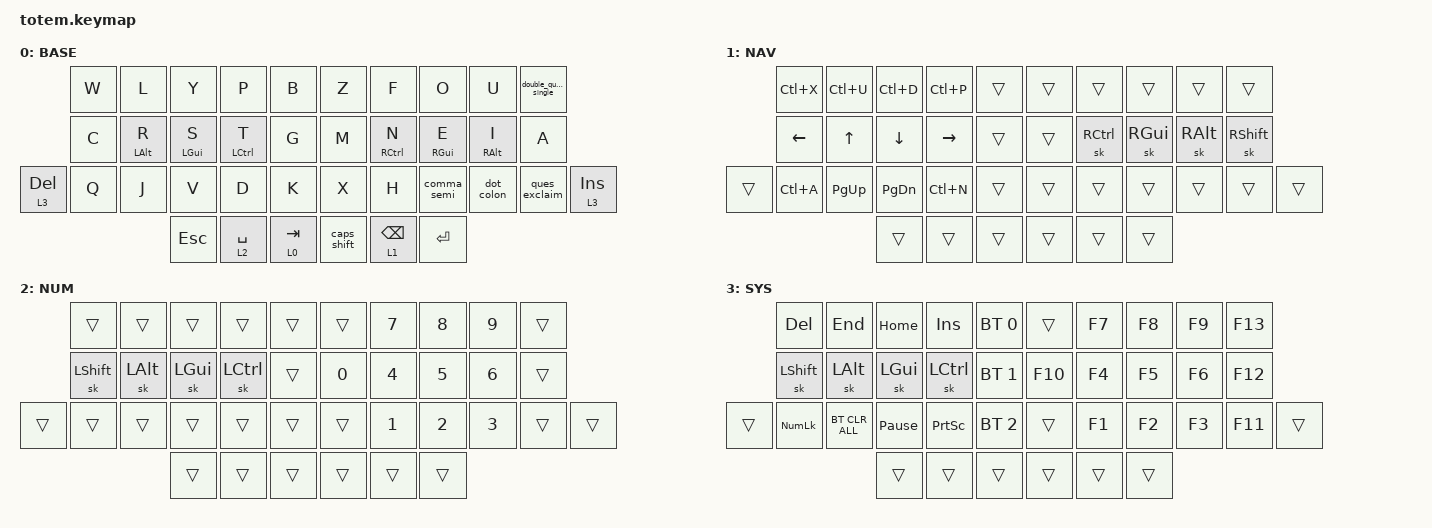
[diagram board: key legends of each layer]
#include <behaviors.dtsi>
#include <dt-bindings/zmk/bt.h>
#include <dt-bindings/zmk/keys.h>

#define BASE 0
#define NAV  1
#define SYM  2
#define ADJ  3

&mt {
    quick-tap-ms = <100>;
    global-quick-tap;
    flavor = "tap-preferred";
    tapping-term-ms = <170>;
};

/ {
    combos {
        compatible = "zmk,combos";

        combo_fslash {
            bindings = <&div_mul>;
            key-positions = <17 27>;
        };

        combo_bslash {
            bindings = <&kp BACKSLASH>;
            key-positions = <29 17>;
        };

        r_brack {
            bindings = <&kp LEFT_PARENTHESIS>;
            key-positions = <13 12>;
        };

        r_brack_l {
            bindings = <&kp RIGHT_PARENTHESIS>;
            key-positions = <16 17>;
        };

        a_brack {
            bindings = <&angle_less>;
            key-positions = <24 23>;
        };

        a_brack_l {
            bindings = <&angle_great>;
            key-positions = <27 28>;
        };

        c_brack {
            bindings = <&kp LEFT_BRACE>;
            key-positions = <2 3>;
        };

        c_brack_l {
            bindings = <&kp RIGHT_BRACE>;
            key-positions = <6 7>;
        };

        equality {
            bindings = <&equal_not>;
            key-positions = <7 8>;
        };

        combo_minus {
            bindings = <&minus_plus>;
            key-positions = <17 18>;
        };

        combo_underscore {
            bindings = <&under_super>;
            key-positions = <28 29>;
        };

        combo_at {
            bindings = <&at_percent>;
            key-positions = <12 11>;
        };

        combo_and {
            bindings = <&and_or>;
            key-positions = <1 2>;
        };

        combo_hash {
            bindings = <&hash_dollar>;
            key-positions = <22 23>;
        };

        grave_tidle {
            bindings = <&kp GRAVE>;
            key-positions = <12 24>;
        };
    };

    macros {
        gif: gif {
            label = "giphy";
            compatible = "zmk,behavior-macro";
            #binding-cells = <0>;
            bindings =
                <&macro_press>,
                <&kp LSHFT>,
                <&macro_tap>,
                <&kp N2>,
                <&macro_release>,
                <&kp LSHFT>,
                <&macro_tap>,
                <&kp G &kp I &kp F>;
        };
    };

    behaviors {
        dot_colon: dot_colon {
            compatible = "zmk,behavior-mod-morph";
            label = "DOT_COLON";
            bindings = <&kp PERIOD>, <&kp COLON>;

            #binding-cells = <0>;
            mods = <(MOD_LSFT|MOD_RSFT)>;
        };

        comma_semi: comma_semi {
            compatible = "zmk,behavior-mod-morph";
            label = "COMMA_SEMI";
            bindings = <&kp COMMA>, <&kp SEMICOLON>;

            #binding-cells = <0>;
            mods = <(MOD_LSFT|MOD_RSFT)>;
        };

        ques_exclaim: ques_exclaim {
            compatible = "zmk,behavior-mod-morph";
            label = "QUES_EXCLAIM";
            bindings = <&kp QUESTION>, <&kp EXCL>;

            #binding-cells = <0>;
            mods = <(MOD_LSFT|MOD_RSFT)>;
        };

        double_quote_single: double_quote_single {
            compatible = "zmk,behavior-mod-morph";
            label = "DOUBLE_QUOTE_SINGLE";
            bindings = <&kp DOUBLE_QUOTES>, <&kp SINGLE_QUOTE>;

            #binding-cells = <0>;
            mods = <(MOD_LSFT|MOD_RSFT)>;
        };

        caps_shift: caps_shift {
            compatible = "zmk,behavior-tap-dance";
            label = "CAPS_SHIFT";
            #binding-cells = <0>;
            tapping-term-ms = <280>;
            bindings = <&sk RIGHT_SHIFT>, <&caps_word>;
        };

        div_mul: div_mul {
            compatible = "zmk,behavior-mod-morph";
            label = "DIV_MUL";
            bindings = <&kp SLASH>, <&kp ASTERISK>;

            #binding-cells = <0>;
            mods = <(MOD_LSFT|MOD_RSFT)>;
        };

        angle_less: angle_less {
            compatible = "zmk,behavior-mod-morph";
            label = "ANGLE_LESS";
            bindings = <&kp LESS_THAN>, <&kp LEFT_BRACKET>;

            #binding-cells = <0>;
            mods = <(MOD_LSFT|MOD_RSFT)>;
        };

        angle_great: angle_great {
            compatible = "zmk,behavior-mod-morph";
            label = "ANGLE_GREAT";
            bindings = <&kp GREATER_THAN>, <&kp RIGHT_BRACKET>;

            #binding-cells = <0>;
            mods = <(MOD_LSFT|MOD_RSFT)>;
        };

        equal_not: equal_not {
            compatible = "zmk,behavior-mod-morph";
            label = "EQUAL_NOT";
            bindings = <&kp EQUAL>, <&kp EXCLAMATION>;

            #binding-cells = <0>;
            mods = <(MOD_LSFT|MOD_RSFT)>;
        };

        minus_plus: minus_plus {
            compatible = "zmk,behavior-mod-morph";
            label = "MINUS_PLUS";
            bindings = <&kp MINUS>, <&kp PLUS>;

            #binding-cells = <0>;
            mods = <(MOD_LSFT|MOD_RSFT)>;
        };

        under_super: under_super {
            compatible = "zmk,behavior-mod-morph";
            label = "UNDER_SUPER";
            bindings = <&kp UNDERSCORE>, <&kp CARET>;

            #binding-cells = <0>;
            mods = <(MOD_LSFT|MOD_RSFT)>;
        };

        at_percent: at_percent {
            compatible = "zmk,behavior-mod-morph";
            label = "AT_PERCENT";
            bindings = <&kp AT>, <&kp PERCENT>;

            #binding-cells = <0>;
            mods = <(MOD_LSFT|MOD_RSFT)>;
        };

        and_or: and_or {
            compatible = "zmk,behavior-mod-morph";
            label = "AND_OR";
            bindings = <&kp AMPERSAND>, <&kp PIPE>;

            #binding-cells = <0>;
            mods = <(MOD_LSFT|MOD_RSFT)>;
        };

        hash_dollar: hash_dollar {
            compatible = "zmk,behavior-mod-morph";
            label = "HASH_DOLLAR";
            bindings = <&kp HASH>, <&kp DOLLAR>;

            #binding-cells = <0>;
            mods = <(MOD_LSFT|MOD_RSFT)>;
        };

        hold_tap: hold_tap {
            compatible = "zmk,behavior-hold-tap";
            label = "HOLD_TAP";
            bindings = <&mo>, <&kp>;

            #binding-cells = <2>;
            tapping-term-ms = <280>;
            quick-tap-ms = <230>;
            flavor = "balanced";
        };

        hrm_left: hrm_left {
            compatible = "zmk,behavior-hold-tap";
            label = "HRM_LEFT";
            bindings = <&kp>, <&kp>;

            #binding-cells = <2>;
            tapping-term-ms = <280>;
            quick-tap-ms = <175>;
            flavor = "balanced";
            require-prior-idle-ms = <125>;
            hold-trigger-on-release;
            hold-trigger-key-positions = <5 6 7 8 9 15 16 17 18 19 26 27 28 29 30 31>;
        };

        hrm_right: hrm_right {
            compatible = "zmk,behavior-hold-tap";
            label = "HRM_RIGHT";
            bindings = <&kp>, <&kp>;

            #binding-cells = <2>;
            tapping-term-ms = <280>;
            quick-tap-ms = <175>;
            flavor = "balanced";
            require-prior-idle-ms = <125>;
            hold-trigger-on-release;
            hold-trigger-key-positions = <0 1 3 4 10 11 12 13 14 20 21 22 23 24 25 2>;
        };
    };

    keymap {
        compatible = "zmk,keymap";

        // ▄▄▄▄▄▄▄▄▄▄▄▄▄▄▄▄▄▄▄▄▄▄▄▄▄▄▄▄▄▄▄▄▄▄▄▄▄▄▄▄▄▄▄▄▄▄▄▄▄▄▄▄▄▄▄▄▄▄▄▄▄▄▄▄▄▄▄▄▄▄▄▄▄▄▄▄▄▄▄▄▄▄▄▄▄▄▄▄▄▄▄▄▄▄▄▄▄▄▄▄▄▄▄▄▄▄▄▄▄▄▄▄▄▄▄▄▄▄▄▄▄▄▄▄▄▄▄▄▄▄▄▄▄▄▄▄▄▄▄▄▄▄▄▄▄▄▄▄▄

        base_layer {
            // ┏━━━━━━━━━━━━━━━━━━━━━━━━━━━━━━━━━━━━━━━┓

            label = "BASE";

            // ┗━━━━━━━━━━━━━━━━━━━━━━━━━━━━━━━━━━━━━━━┛
            //             ┏━━━━━━━━━━━┳━━━━━━━━━━━┳━━━━━━━━━━━┳━━━━━━━━━━━┳━━━━━━━━━━━┓   ┏━━━━━━━━━━━┳━━━━━━━━━━━┳━━━━━━━━━━━┳━━━━━━━━━━━┳━━━━━━━━━━━┓
            //             ┃     Q     ┃     W     ┃     F     ┃     P     ┃     G     ┃   ┃     J     ┃     L     ┃     U     ┃     Y     ┃     ;     ┃
            //             ┣━━━━━━━━━━━╋━━━━━━━━━━━╋━━━━━━━━━━━╋━━━━━━━━━━━╋━━━━━━━━━━━┫   ┣━━━━━━━━━━━╋━━━━━━━━━━━╋━━━━━━━━━━━╋━━━━━━━━━━━╋━━━━━━━━━━━┫
            //             ┃     A     ┃     R     ┃     S     ┃     T     ┃     D     ┃   ┃     H     ┃     N     ┃     E     ┃     I     ┃     O     ┃
            // ┏━━━━━━━━━━━╋━━━━━━━━━━━╋━━━━━━━━━━━╋━━━━━━━━━━━╋━━━━━━━━━━━╋━━━━━━━━━━━┫   ┣━━━━━━━━━━━╋━━━━━━━━━━━╋━━━━━━━━━━━╋━━━━━━━━━━━╋━━━━━━━━━━━╋━━━━━━━━━━━┓
            // ┃           ┃     Z     ┃     X     ┃     C     ┃     V     ┃     B     ┃   ┃     K     ┃     M     ┃     ,     ┃     .     ┃     /     ┃           ┃
            // ┗━━━━━━━━━━━┻━━━━━━━━━━━┻━━━━━━━━━━━╋━━━━━━━━━━━╋━━━━━━━━━━━╋━━━━━━━━━━━┫   ┣━━━━━━━━━━━╋━━━━━━━━━━━╋━━━━━━━━━━━╋━━━━━━━━━━━┻━━━━━━━━━━━┻━━━━━━━━━━━┛
            //                                     ┃           ┃    TAB    ┃    SPC    ┃   ┃   ENTER   ┃   BSPC    ┃           ┃
            //                                     ┗━━━━━━━━━━━┻━━━━━━━━━━━┻━━━━━━━━━━━┛   ┗━━━━━━━━━━━┻━━━━━━━━━━━┻━━━━━━━━━━━┛

            bindings = <
              &kp W  &kp L                 &kp Y                 &kp P                     &kp B        &kp Z        &kp F                       &kp O                   &kp U                   &double_quote_single
              &kp C  &hrm_left LEFT_ALT R  &hrm_left LEFT_GUI S  &hrm_left LEFT_CONTROL T  &kp G        &kp M        &hrm_right RIGHT_CONTROL N  &hrm_right RIGHT_GUI E  &hrm_right RIGHT_ALT I  &kp A
&lt 3 DELETE  &kp Q  &kp J                 &kp V                 &kp D                     &kp K        &kp X        &kp H                       &comma_semi             &dot_colon              &ques_exclaim         &lt 3 INS
                                           &kp ESCAPE            &hold_tap 2 SPACE         &lt 0 TAB    &caps_shift  &hold_tap 1 BACKSPACE       &kp ENTER
            >;
        };

        // ▄▄▄▄▄▄▄▄▄▄▄▄▄▄▄▄▄▄▄▄▄▄▄▄▄▄▄▄▄▄▄▄▄▄▄▄▄▄▄▄▄▄▄▄▄▄▄▄▄▄▄▄▄▄▄▄▄▄▄▄▄▄▄▄▄▄▄▄▄▄▄▄▄▄▄▄▄▄▄▄▄▄▄▄▄▄▄▄▄▄▄▄▄▄▄▄▄▄▄▄▄▄▄▄▄▄▄▄▄▄▄▄▄▄▄▄▄▄▄▄▄▄▄▄▄▄▄▄▄▄▄▄▄▄▄▄▄▄▄▄▄▄▄▄▄▄▄▄▄
        // ▄▄▄▄▄▄▄▄▄▄▄▄▄▄▄▄▄▄▄▄▄▄▄▄▄▄▄▄▄▄▄▄▄▄▄▄▄▄▄▄▄▄▄▄▄▄▄▄▄▄▄▄▄▄▄▄▄▄▄▄▄▄▄▄▄▄▄▄▄▄▄▄▄▄▄▄▄▄▄▄▄▄▄▄▄▄▄▄▄▄▄▄▄▄▄▄▄▄▄▄▄▄▄▄▄▄▄▄▄▄▄▄▄▄▄▄▄▄▄▄▄▄▄▄▄▄▄▄▄▄▄▄▄▄▄▄▄▄▄▄▄▄▄▄▄▄▄▄▄
        // ▄▄▄▄▄▄▄▄▄▄▄▄▄▄▄▄▄▄▄▄▄▄▄▄▄▄▄▄▄▄▄▄▄▄▄▄▄▄▄▄▄▄▄▄▄▄▄▄▄▄▄▄▄▄▄▄▄▄▄▄▄▄▄▄▄▄▄▄▄▄▄▄▄▄▄▄▄▄▄▄▄▄▄▄▄▄▄▄▄▄▄▄▄▄▄▄▄▄▄▄▄▄▄▄▄▄▄▄▄▄▄▄▄▄▄▄▄▄▄▄▄▄▄▄▄▄▄▄▄▄▄▄▄▄▄▄▄▄▄▄▄▄▄▄▄▄▄▄▄

        NAV {
            bindings = <
        &kp LC(X)       &kp LC(U)     &kp LC(D)       &kp LC(P)        &trans    &trans  &trans             &trans         &trans         &trans
        &kp LEFT_ARROW  &kp UP_ARROW  &kp DOWN_ARROW  &kp RIGHT_ARROW  &trans    &trans  &sk RIGHT_CONTROL  &sk RIGHT_GUI  &sk RIGHT_ALT  &sk RIGHT_SHIFT
&trans  &kp LC(A)       &kp PAGE_UP   &kp PAGE_DOWN   &kp LC(N)        &trans    &trans  &trans             &trans         &trans         &trans           &trans
                                      &trans          &trans           &trans    &trans  &trans             &trans
            >;
        };

        NUM {
            bindings = <
        &trans          &trans        &trans        &trans            &trans    &trans  &kp N7        &kp N8        &kp N9        &trans
        &sk LEFT_SHIFT  &sk LEFT_ALT  &sk LEFT_GUI  &sk LEFT_CONTROL  &trans    &kp N0  &kp NUMBER_4  &kp N5        &kp NUMBER_6  &trans
&trans  &trans          &trans        &trans        &trans            &trans    &trans  &kp NUMBER_1  &kp NUMBER_2  &kp NUMBER_3  &trans  &trans
                                      &trans        &trans            &trans    &trans  &trans        &trans
            >;
        };

        SYS {
            bindings = <
        &kp DEL         &kp END         &kp HOME         &kp INSERT        &bt BT_SEL 0    &trans   &kp F7  &kp F8  &kp F9  &kp F13
        &sk LEFT_SHIFT  &sk LEFT_ALT    &sk LEFT_GUI     &sk LEFT_CONTROL  &bt BT_SEL 1    &kp F10  &kp F4  &kp F5  &kp F6  &kp F12
&trans  &kp KP_NUMLOCK  &bt BT_CLR_ALL  &kp PAUSE_BREAK  &kp PRINTSCREEN   &bt BT_SEL 2    &trans   &kp F1  &kp F2  &kp F3  &kp F11  &trans
                                        &trans           &trans            &trans          &trans   &trans  &trans
            >;
        };
    };
};
